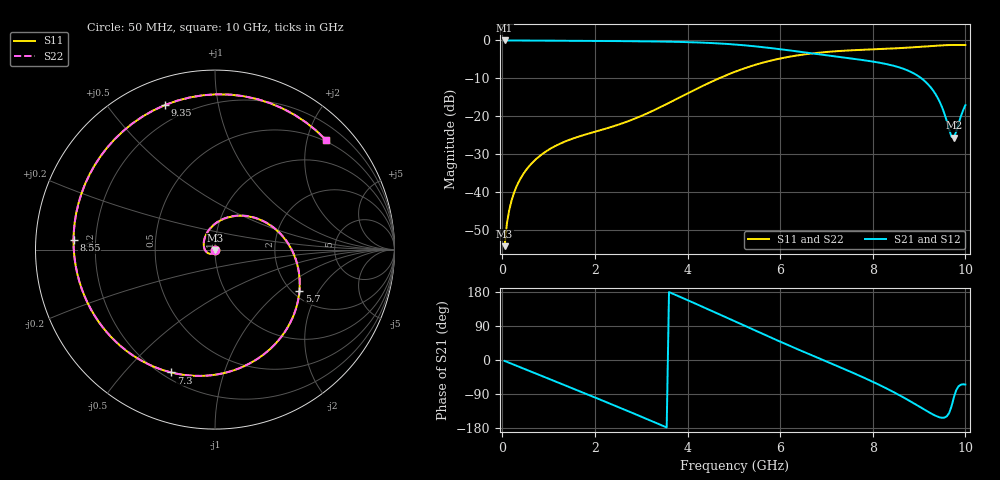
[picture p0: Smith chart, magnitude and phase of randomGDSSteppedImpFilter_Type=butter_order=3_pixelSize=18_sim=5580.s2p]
! freq	dB(S11)	phase(S11)	dB(S12)	phase(S12)
!  dB(S21)	phase(S21)	dB(S22)	phase(S22)
!S-par simulation data
#  GHz  S  DB  R 50
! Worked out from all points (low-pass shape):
!   200 points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, 50 MHz to 10 GHz, reference 50 ohm
!   highest |S21| = -0.01 dB at 50 MHz (marker M1); lowest = -25.6 dB at 9.75 GHz (marker M2)
!   |S21| within 3 dB of the highest: start of sweep to 6.439 GHz
!   lowest |S11| = -54.2 dB at 50 MHz (marker M3), VSWR 1.00, Z = 50 - j0.193 ohm
!   |S11| at or under -10 dB: start of sweep to 4.679 GHz
!   |S22| runs from -54.2 to -1.2 dB; largest |S21 - S12| = 0
!   S11 on the Smith chart (normalised r, x): 50 MHz: 1.00, -0.00; 5.7 GHz: 2.18, -1.38; 7.3 GHz: 0.23, -0.68; 8.55 GHz: 0.12, +0.03; 9.35 GHz: 0.12, +0.70; 10 GHz: 0.47, +2.35
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0.05  -54.24 -83.6  -0.01 -2.5  -0.01 -2.5  -54.24 -83.5
0.1  -48.21 -90.5  -0.01 -5.0  -0.01 -5.0  -48.21 -90.5
0.2  -42.21 -97.8  -0.02 -9.9  -0.02 -9.9  -42.21 -97.7
0.5  -34.39 -114.2  -0.03 -24.7  -0.03 -24.7  -34.39 -114.1
1.15  -27.80 -148.2  -0.07 -56.7  -0.07 -56.7  -27.80 -147.8
1.75  -24.97 -179.4  -0.11 -86.4  -0.11 -86.4  -24.98 -178.7
2.5  -22.24 142.4  -0.17 -124.0  -0.17 -124.0  -22.25 143.3
3.4  -17.67 96.7  -0.29 -170.2  -0.29 -170.2  -17.68 97.5
4.15  -13.06 57.6  -0.50 149.9  -0.50 149.9  -13.06 58.2
4.6  -10.43 33.5  -0.74 125.3  -0.74 125.3  -10.44 34.0
5.05  -8.15 9.1  -1.10 100.4  -1.10 100.4  -8.15 9.5
5.7  -5.62 -26.1  -1.87 64.6  -1.87 64.6  -5.62 -25.9
6.2  -4.30 -52.6  -2.62 37.8  -2.62 37.8  -4.30 -52.5
6.7  -3.41 -78.5  -3.43 11.6  -3.43 11.6  -3.41 -78.5
7.3  -2.77 -109.7  -4.39 -19.5  -4.39 -19.5  -2.77 -109.7
7.8  -2.45 -136.8  -5.21 -46.2  -5.21 -46.2  -2.45 -136.9
8.35  -2.17 -170.2  -6.38 -78.4  -6.38 -78.4  -2.17 -170.4
8.55  -2.05 176.1  -7.02 -91.2  -7.02 -91.2  -2.05 175.9
8.95  -1.74 145.3  -9.15 -119.0  -9.15 -119.0  -1.74 145.1
9.35  -1.39 109.2  -14.05 -146.8  -14.05 -146.8  -1.39 109.0
9.75  -1.19 69.4  -25.62 -99.2  -25.62 -99.2  -1.19 69.2
10  -1.22 44.8  -17.06 -64.8  -17.06 -64.8  -1.22 44.7
